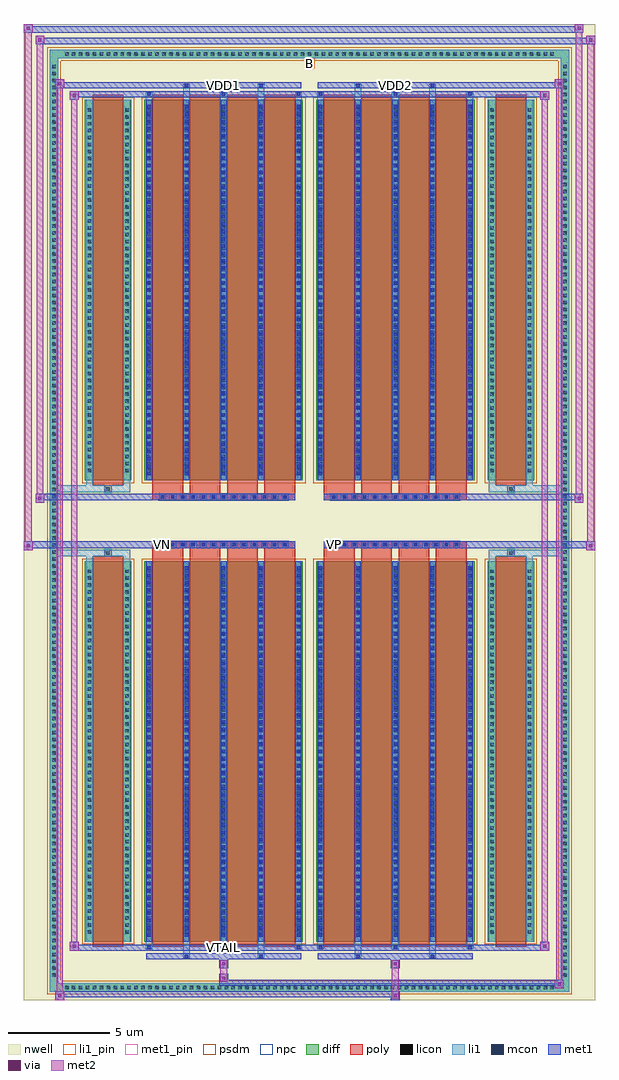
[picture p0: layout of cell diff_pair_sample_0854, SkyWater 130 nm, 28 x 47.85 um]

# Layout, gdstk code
import gdstk
lib = gdstk.Library(unit=1e-6, precision=5e-09)
def R(c, l, rs):  # rectangles x0, y0, x1, y1
    for r in rs: c.add(gdstk.rectangle(r[:2], r[2:], *l))
def A(c, l, x, y, w, h, nx, ny, dx, dy):  # array of equal rectangles
    R(c, l, [(x+i*dx, y+j*dy, x+i*dx+w, y+j*dy+h) for i in range(nx) for j in range(ny)])
def P(c, l, *ps):  # polygons
    for p in ps: c.add(gdstk.Polygon(p, *l))
nwell = (64, 20)
diff = (65, 20)
poly = (66, 20)
licon = (66, 44)
li1_pin = (67, 16)
li1 = (67, 20)
mcon = (67, 44)
met1_pin = (68, 16)
met1 = (68, 20)
via = (68, 44)
met2 = (69, 20)
psdm = (94, 20)
npc = (95, 20)

diff_pair_sample_0854 = lib.new_cell('diff_pair_sample_0854')
R(diff_pair_sample_0854, nwell, [(-14,-23.49,14,24.36), (-11.32,-21.68,-0.01,-0.8), (0.01,-21.68,11.32,-0.8), (-11.32,0.8,-0.01,21.68), (0.01,0.8,11.32,21.68)])
A(diff_pair_sample_0854, diff, -12.105, -23.09, 0.41, 0.41, 71, 2, 0.34, 45.77)
A(diff_pair_sample_0854, diff, -12.73, -22.475, 0.41, 0.41, 1, 132, 0, 0.34)
A(diff_pair_sample_0854, diff, 12.32, -22.475, 0.41, 0.41, 1, 132, 0, 0.34)
R(diff_pair_sample_0854, diff, [(-12.105,-23.09,12.105,-22.68), (-12.73,-22.475,-12.32,22.475), (12.32,-22.475,12.73,22.475), (-11.01,-20.635,-8.73,-1.985), (-8.09,-20.635,-0.32,-1.985), (0.32,-20.635,8.09,-1.985), (8.73,-20.635,11.01,-1.985), (-11.01,1.985,-8.73,20.635), (-8.09,1.985,-0.32,20.635), (0.32,1.985,8.09,20.635), (8.73,1.985,11.01,20.635), (-12.105,22.68,12.105,23.09)])
P(diff_pair_sample_0854, diff, [(12.73,23.09),(-12.73,23.09),(-12.73,-22.68),(-12.32,-22.68),(-12.32,22.68),(12.32,22.68),(12.32,-22.68),(-12.32,-22.68),(-12.73,-22.68),(-12.73,-23.09),(12.73,-23.09)])
A(diff_pair_sample_0854, poly, -7.7, -20.885, 1.5, 19.15, 4, 2, 1.83, 22.62)
A(diff_pair_sample_0854, poly, 0.71, -20.885, 1.5, 19.15, 4, 2, 1.83, 22.62)
A(diff_pair_sample_0854, poly, -7.7, -1.735, 1.5, 0.405, 4, 2, 1.83, 3.065)
A(diff_pair_sample_0854, poly, 0.71, -1.735, 1.5, 0.405, 4, 2, 1.83, 3.065)
A(diff_pair_sample_0854, poly, -7.37, -1.33, 0.33, 0.33, 13, 2, 0.5, 2.33)
A(diff_pair_sample_0854, poly, 1.04, -1.33, 0.33, 0.33, 13, 2, 0.5, 2.33)
R(diff_pair_sample_0854, poly, [(-10.62,-20.885,-9.12,-1.735), (9.12,-20.885,10.62,-1.735), (-10.035,-1.735,-9.705,-1.405), (-10.035,-1.735,-9.705,-1.405), (9.705,-1.735,10.035,-1.405), (9.705,-1.735,10.035,-1.405), (-7.7,-1.33,-0.71,-1), (0.71,-1.33,7.7,-1), (-7.7,1,-0.71,1.33), (0.71,1,7.7,1.33), (-10.035,1.405,-9.705,1.735), (-10.035,1.405,-9.705,1.735), (9.705,1.405,10.035,1.735), (9.705,1.405,10.035,1.735), (-10.62,1.735,-9.12,20.885), (9.12,1.735,10.62,20.885)])
A(diff_pair_sample_0854, licon, -11.985, -22.97, 0.17, 0.17, 71, 2, 0.34, 45.77)
A(diff_pair_sample_0854, licon, -12.61, -22.355, 0.17, 0.17, 1, 132, 0, 0.34)
A(diff_pair_sample_0854, licon, 12.44, -22.355, 0.17, 0.17, 1, 132, 0, 0.34)
A(diff_pair_sample_0854, licon, -10.87, -20.235, 0.17, 0.17, 1, 53, 0, 0.34)
A(diff_pair_sample_0854, licon, -9.04, -20.235, 0.17, 0.17, 1, 53, 0, 0.34)
A(diff_pair_sample_0854, licon, -7.95, -20.235, 0.17, 0.17, 5, 53, 1.83, 0.34)
A(diff_pair_sample_0854, licon, 0.46, -20.235, 0.17, 0.17, 5, 53, 1.83, 0.34)
A(diff_pair_sample_0854, licon, 8.87, -20.235, 0.17, 0.17, 1, 53, 0, 0.34)
A(diff_pair_sample_0854, licon, 10.7, -20.235, 0.17, 0.17, 1, 53, 0, 0.34)
A(diff_pair_sample_0854, licon, -7.29, -1.25, 0.17, 0.17, 13, 2, 0.5, 2.33)
A(diff_pair_sample_0854, licon, 1.12, -1.25, 0.17, 0.17, 13, 2, 0.5, 2.33)
A(diff_pair_sample_0854, licon, -10.87, 2.385, 0.17, 0.17, 1, 53, 0, 0.34)
A(diff_pair_sample_0854, licon, -9.04, 2.385, 0.17, 0.17, 1, 53, 0, 0.34)
A(diff_pair_sample_0854, licon, -7.95, 2.385, 0.17, 0.17, 5, 53, 1.83, 0.34)
A(diff_pair_sample_0854, licon, 0.46, 2.385, 0.17, 0.17, 5, 53, 1.83, 0.34)
A(diff_pair_sample_0854, licon, 8.87, 2.385, 0.17, 0.17, 1, 53, 0, 0.34)
A(diff_pair_sample_0854, licon, 10.7, 2.385, 0.17, 0.17, 1, 53, 0, 0.34)
R(diff_pair_sample_0854, licon, [(-9.955,-1.655,-9.785,-1.485), (9.785,-1.655,9.955,-1.485), (-9.955,1.485,-9.785,1.655), (9.785,1.485,9.955,1.655)])
R(diff_pair_sample_0854, li1_pin, [(-0.25,22.18,0.25,22.68)])
A(diff_pair_sample_0854, li1, -12.065, -23.05, 0.33, 0.33, 71, 2, 0.34, 45.77)
A(diff_pair_sample_0854, li1, -12.69, -22.435, 0.33, 0.33, 1, 132, 0, 0.34)
A(diff_pair_sample_0854, li1, 12.36, -22.435, 0.33, 0.33, 1, 132, 0, 0.34)
A(diff_pair_sample_0854, li1, -8.03, -21.01, 0.33, 0.375, 3, 2, 3.66, 41.645)
A(diff_pair_sample_0854, li1, -7.95, -21.01, 0.17, 0.17, 3, 2, 3.66, 41.85)
A(diff_pair_sample_0854, li1, 0.38, -21.01, 0.33, 0.375, 3, 2, 3.66, 41.645)
A(diff_pair_sample_0854, li1, 0.46, -21.01, 0.17, 0.17, 3, 2, 3.66, 41.85)
A(diff_pair_sample_0854, li1, -8.03, -20.635, 0.33, 18.65, 5, 2, 1.83, 22.62)
A(diff_pair_sample_0854, li1, 0.38, -20.635, 0.33, 18.65, 5, 2, 1.83, 22.62)
A(diff_pair_sample_0854, li1, -7.95, -20.395, 0.17, 0.17, 5, 51, 1.83, 0.36)
A(diff_pair_sample_0854, li1, -7.95, -20.395, 0.17, 18.17, 5, 2, 1.83, 22.62)
A(diff_pair_sample_0854, li1, 0.46, -20.395, 0.17, 0.17, 5, 51, 1.83, 0.36)
A(diff_pair_sample_0854, li1, 0.46, -20.395, 0.17, 18.17, 5, 2, 1.83, 22.62)
A(diff_pair_sample_0854, li1, -10.95, -20.315, 0.33, 0.33, 1, 53, 0, 0.34)
A(diff_pair_sample_0854, li1, -9.12, -20.315, 0.33, 0.33, 1, 53, 0, 0.34)
A(diff_pair_sample_0854, li1, -8.03, -20.315, 0.33, 0.33, 5, 53, 1.83, 0.34)
A(diff_pair_sample_0854, li1, 0.38, -20.315, 0.33, 0.33, 5, 53, 1.83, 0.34)
A(diff_pair_sample_0854, li1, 8.79, -20.315, 0.33, 0.33, 1, 53, 0, 0.34)
A(diff_pair_sample_0854, li1, 10.62, -20.315, 0.33, 0.33, 1, 53, 0, 0.34)
A(diff_pair_sample_0854, li1, -7.37, -1.33, 0.33, 0.33, 13, 2, 0.5, 2.33)
A(diff_pair_sample_0854, li1, 1.04, -1.33, 0.33, 0.33, 13, 2, 0.5, 2.33)
A(diff_pair_sample_0854, li1, -7.95, 2.225, 0.17, 0.17, 5, 51, 1.83, 0.36)
A(diff_pair_sample_0854, li1, 0.46, 2.225, 0.17, 0.17, 5, 51, 1.83, 0.36)
A(diff_pair_sample_0854, li1, -10.95, 2.305, 0.33, 0.33, 1, 53, 0, 0.34)
A(diff_pair_sample_0854, li1, -9.12, 2.305, 0.33, 0.33, 1, 53, 0, 0.34)
A(diff_pair_sample_0854, li1, -8.03, 2.305, 0.33, 0.33, 5, 53, 1.83, 0.34)
A(diff_pair_sample_0854, li1, 0.38, 2.305, 0.33, 0.33, 5, 53, 1.83, 0.34)
A(diff_pair_sample_0854, li1, 8.79, 2.305, 0.33, 0.33, 1, 53, 0, 0.34)
A(diff_pair_sample_0854, li1, 10.62, 2.305, 0.33, 0.33, 1, 53, 0, 0.34)
R(diff_pair_sample_0854, li1, [(-12.73,-23.09,-12.32,-22.68), (-12.73,-23.09,-12.32,-22.68), (-12.32,-23.09,12.32,-22.68), (12.32,-23.09,12.73,-22.68), (12.32,-23.09,12.73,-22.68), (-12.73,-22.68,-12.32,22.68), (12.32,-22.68,12.73,22.68), (-6.2,-21.44,-5.87,-20.635), (-6.12,-21.44,-5.95,-21.27), (-2.54,-21.44,-2.21,-20.635), (-2.46,-21.44,-2.29,-21.27), (2.21,-21.44,2.54,-20.635), (2.29,-21.44,2.46,-21.27), (5.87,-21.44,6.2,-20.635), (5.95,-21.44,6.12,-21.27), (-10.95,-20.635,-10.62,-1.985), (-9.12,-20.635,-8.79,-1.985), (8.79,-20.635,9.12,-1.985), (10.62,-20.635,10.95,-1.985), (-10.95,-1.985,-10.62,-1.405), (-9.12,-1.985,-8.79,-1.405), (8.79,-1.985,9.12,-1.405), (10.62,-1.985,10.95,-1.405), (-12.73,-1.735,-10.035,-1.405), (-10.95,-1.735,-10.035,-1.405), (-10.035,-1.735,-9.705,-1.405), (-9.705,-1.735,-8.79,-1.405), (8.79,-1.735,9.705,-1.405), (9.705,-1.735,10.035,-1.405), (9.705,-1.735,12.73,-1.405), (10.035,-1.735,10.95,-1.405), (-12.73,1.405,-10.035,1.735), (-10.95,1.405,-10.035,1.735), (-10.95,1.405,-10.62,1.985), (-10.035,1.405,-9.705,1.735), (-9.705,1.405,-8.79,1.735), (-9.12,1.405,-8.79,1.985), (8.79,1.405,9.705,1.735), (8.79,1.405,9.12,1.985), (9.705,1.405,10.035,1.735), (9.705,1.405,12.73,1.735), (10.035,1.405,10.95,1.735), (10.62,1.405,10.95,1.985), (-10.95,1.985,-10.62,20.635), (-9.12,1.985,-8.79,20.635), (8.79,1.985,9.12,20.635), (10.62,1.985,10.95,20.635), (-6.2,20.635,-5.87,21.44), (-2.54,20.635,-2.21,21.44), (2.21,20.635,2.54,21.44), (5.87,20.635,6.2,21.44), (-6.12,21.27,-5.95,21.44), (-2.46,21.27,-2.29,21.44), (2.29,21.27,2.46,21.44), (5.95,21.27,6.12,21.44), (-12.73,22.68,-12.32,23.09), (-12.73,22.68,-12.32,23.09), (-12.32,22.68,12.32,23.09), (12.32,22.68,12.73,23.09), (12.32,22.68,12.73,23.09)])
A(diff_pair_sample_0854, mcon, -7.95, -21.01, 0.17, 0.17, 3, 2, 3.66, 41.85)
A(diff_pair_sample_0854, mcon, 0.46, -21.01, 0.17, 0.17, 3, 2, 3.66, 41.85)
A(diff_pair_sample_0854, mcon, -7.95, -20.395, 0.17, 0.17, 5, 51, 1.83, 0.36)
A(diff_pair_sample_0854, mcon, 0.46, -20.395, 0.17, 0.17, 5, 51, 1.83, 0.36)
A(diff_pair_sample_0854, mcon, -7.29, -1.25, 0.17, 0.17, 13, 2, 0.5, 2.33)
A(diff_pair_sample_0854, mcon, 1.12, -1.25, 0.17, 0.17, 13, 2, 0.5, 2.33)
A(diff_pair_sample_0854, mcon, -7.95, 2.225, 0.17, 0.17, 5, 51, 1.83, 0.36)
A(diff_pair_sample_0854, mcon, 0.46, 2.225, 0.17, 0.17, 5, 51, 1.83, 0.36)
R(diff_pair_sample_0854, mcon, [(-6.12,-21.44,-5.95,-21.27), (-2.46,-21.44,-2.29,-21.27), (2.29,-21.44,2.46,-21.27), (5.95,-21.44,6.12,-21.27), (-6.12,21.27,-5.95,21.44), (-2.46,21.27,-2.29,21.44), (2.29,21.27,2.46,21.44), (5.95,21.27,6.12,21.44)])
R(diff_pair_sample_0854, met1_pin, [(-4.34,-21.05,-4.07,-20.78), (-7.34,-1.29,-7.07,-1.02), (1.07,-1.29,1.34,-1.02), (-4.34,21.23,-4.07,21.5), (4.07,21.23,4.34,21.5)])
A(diff_pair_sample_0854, met1, -8.01, -21.07, 0.29, 0.29, 3, 2, 3.66, 41.85)
A(diff_pair_sample_0854, met1, 0.4, -21.07, 0.29, 0.29, 3, 2, 3.66, 41.85)
A(diff_pair_sample_0854, met1, -8.01, -20.635, 0.29, 18.65, 5, 2, 1.83, 22.62)
A(diff_pair_sample_0854, met1, 0.4, -20.635, 0.29, 18.65, 5, 2, 1.83, 22.62)
A(diff_pair_sample_0854, met1, -8.01, -20.455, 0.29, 0.29, 5, 51, 1.83, 0.36)
A(diff_pair_sample_0854, met1, 0.4, -20.455, 0.29, 0.29, 5, 51, 1.83, 0.36)
A(diff_pair_sample_0854, met1, -7.35, -1.31, 0.29, 0.29, 13, 2, 0.5, 2.33)
A(diff_pair_sample_0854, met1, 1.06, -1.31, 0.29, 0.29, 13, 2, 0.5, 2.33)
A(diff_pair_sample_0854, met1, -8.01, 2.165, 0.29, 0.29, 5, 51, 1.83, 0.36)
A(diff_pair_sample_0854, met1, 0.4, 2.165, 0.29, 0.29, 5, 51, 1.83, 0.36)
R(diff_pair_sample_0854, met1, [(-12.46,-23.49,-12.03,-23.06), (3.99,-23.49,4.42,-23.06), (-12.46,-23.35,4.42,-23.06), (12.03,-22.92,12.46,-22.49), (-4.42,-22.78,12.46,-22.49), (-4.42,-22.64,-3.99,-22.21), (-4.42,-21.93,-3.99,-21.5), (3.99,-21.93,4.42,-21.5), (-8.01,-21.5,-0.4,-21.21), (-6.18,-21.5,-5.89,-21.21), (-2.52,-21.5,-2.23,-21.21), (0.4,-21.5,8.01,-21.21), (2.23,-21.5,2.52,-21.21), (5.89,-21.5,6.18,-21.21), (-11.75,-21.07,-11.32,-20.64), (-11.75,-21.07,-8.01,-20.78), (-8.01,-21.07,-0.4,-20.78), (-0.4,-21.07,0.4,-20.78), (0.4,-21.07,8.01,-20.78), (8.01,-21.07,11.75,-20.78), (11.32,-21.07,11.75,-20.64), (-14,-1.43,-13.57,-1), (13.57,-1.43,14,-1), (-14,-1.33,-0.71,-1), (-7.7,-1.33,-0.71,-1), (0.71,-1.33,7.7,-1), (0.71,-1.33,14,-1), (-13.43,0.9,-13,1.33), (13,0.9,13.43,1.33), (-13.43,1,-7.7,1.33), (-7.7,1,-0.71,1.33), (0.71,1,7.7,1.33), (7.7,1,13.43,1.33), (-11.75,20.64,-11.32,21.07), (11.32,20.64,11.75,21.07), (-11.75,20.78,-8.01,21.07), (-8.01,20.78,-0.4,21.07), (-0.4,20.78,0.4,21.07), (0.4,20.78,8.01,21.07), (8.01,20.78,11.75,21.07), (-12.46,21.21,-12.03,21.64), (-12.46,21.21,-8.01,21.5), (-8.01,21.21,-0.4,21.5), (-6.18,21.21,-5.89,21.5), (-2.52,21.21,-2.23,21.5), (0.4,21.21,8.01,21.5), (2.23,21.21,2.52,21.5), (5.89,21.21,6.18,21.5), (8.01,21.21,12.46,21.5), (12.03,21.21,12.46,21.64), (-13.43,23.36,-13,23.79), (-13.43,23.36,-11.32,23.69), (-11.32,23.36,11.32,23.69), (11.32,23.36,14,23.69), (13.57,23.36,14,23.79), (-14,23.93,-13.57,24.36), (-14,23.93,-11.32,24.26), (-11.32,23.93,11.32,24.26), (11.32,23.93,13.43,24.26), (13,23.93,13.43,24.36)])
R(diff_pair_sample_0854, via, [(-12.32,-23.35,-12.17,-23.2), (4.13,-23.35,4.28,-23.2), (12.17,-22.78,12.32,-22.63), (-4.28,-22.5,-4.13,-22.35), (-4.28,-21.79,-4.13,-21.64), (4.13,-21.79,4.28,-21.64), (-11.61,-20.93,-11.46,-20.78), (11.46,-20.93,11.61,-20.78), (-13.86,-1.29,-13.71,-1.14), (13.71,-1.29,13.86,-1.14), (-13.29,1.04,-13.14,1.19), (13.14,1.04,13.29,1.19), (-11.61,20.78,-11.46,20.93), (11.46,20.78,11.61,20.93), (-12.32,21.35,-12.17,21.5), (12.17,21.35,12.32,21.5), (-13.29,23.5,-13.14,23.65), (13.71,23.5,13.86,23.65), (-13.86,24.07,-13.71,24.22), (13.14,24.07,13.29,24.22)])
R(diff_pair_sample_0854, met2, [(-12.46,-23.49,-12.03,-23.06), (-12.39,-23.49,-12.1,21.64), (-12.1,-23.49,-12.03,-23.06), (-12.41,-23.44,-12.08,-23.11), (4.04,-23.44,4.37,-23.11), (4.04,-23.11,4.37,-21.88), (12.03,-22.92,12.46,-22.49), (12.1,-22.92,12.39,21.64), (12.39,-22.92,12.46,-22.49), (12.08,-22.87,12.41,-22.54), (-4.37,-22.59,-4.04,-22.26), (-4.37,-22.26,-4.04,-21.88), (-4.37,-21.88,-4.04,-21.55), (4.04,-21.88,4.37,-21.55), (-11.75,-21.07,-11.32,-20.64), (-11.68,-21.07,-11.39,21.07), (-11.39,-21.07,-11.32,-20.64), (11.32,-21.07,11.75,-20.64), (11.39,-21.07,11.68,21.07), (11.68,-21.07,11.75,-20.64), (-11.7,-21.02,-11.37,-20.69), (11.37,-21.02,11.7,-20.69), (-14,-1.43,-13.57,-1), (-13.95,-1.43,-13.62,24.36), (-13.62,-1.43,-13.57,-1), (13.57,-1.43,14,-1), (13.62,-1.43,13.95,23.79), (13.95,-1.43,14,-1), (-13.95,-1.38,-13.62,-1.05), (13.62,-1.38,13.95,-1.05), (-13.43,0.9,-13,1.33), (-13.38,0.9,-13.05,23.79), (-13.05,0.9,-13,1.33), (13,0.9,13.43,1.33), (13.05,0.9,13.38,24.36), (13.38,0.9,13.43,1.33), (-13.38,0.95,-13.05,1.28), (13.05,0.95,13.38,1.28), (-11.75,20.64,-11.32,21.07), (-11.39,20.64,-11.32,21.07), (11.32,20.64,11.75,21.07), (11.68,20.64,11.75,21.07), (-11.7,20.69,-11.37,21.02), (11.37,20.69,11.7,21.02), (-12.46,21.21,-12.03,21.64), (-12.1,21.21,-12.03,21.64), (12.03,21.21,12.46,21.64), (12.39,21.21,12.46,21.64), (-12.41,21.26,-12.08,21.59), (12.08,21.26,12.41,21.59), (-13.43,23.36,-13,23.79), (-13.05,23.36,-13,23.79), (13.57,23.36,14,23.79), (13.95,23.36,14,23.79), (-13.38,23.41,-13.05,23.74), (13.62,23.41,13.95,23.74), (-14,23.93,-13.57,24.36), (-13.62,23.93,-13.57,24.36), (13,23.93,13.43,24.36), (13.38,23.93,13.43,24.36), (-13.95,23.98,-13.62,24.31), (13.05,23.98,13.38,24.31)])
R(diff_pair_sample_0854, psdm, [(-11.14,-20.765,-8.6,-1.855), (-8.22,-20.765,-0.19,-1.855), (0.19,-20.765,8.22,-1.855), (8.6,-20.765,11.14,-1.855), (-11.14,1.855,-8.6,20.765), (-8.22,1.855,-0.19,20.765), (0.19,1.855,8.22,20.765), (8.6,1.855,11.14,20.765)])
P(diff_pair_sample_0854, psdm, [(12.86,23.22),(-12.86,23.22),(-12.86,-22.55),(-12.19,-22.55),(-12.19,22.55),(12.19,22.55),(12.19,-22.55),(-12.19,-22.55),(-12.86,-22.55),(-12.86,-23.22),(12.86,-23.22)])
A(diff_pair_sample_0854, npc, -7.39, -1.35, 0.37, 0.37, 13, 2, 0.5, 2.33)
A(diff_pair_sample_0854, npc, 1.02, -1.35, 0.37, 0.37, 13, 2, 0.5, 2.33)
R(diff_pair_sample_0854, npc, [(-10.055,-1.755,-9.685,-1.385), (9.685,-1.755,10.055,-1.385), (-7.39,-1.35,-6.52,-0.98), (-7.39,-1.35,-6.52,-0.98), (-6.89,-1.35,-6.02,-0.98), (-6.89,-1.35,-6.02,-0.98), (-6.39,-1.35,-5.52,-0.98), (-6.39,-1.35,-5.52,-0.98), (-5.89,-1.35,-5.02,-0.98), (-5.89,-1.35,-5.02,-0.98), (-5.39,-1.35,-4.52,-0.98), (-5.39,-1.35,-4.52,-0.98), (-4.89,-1.35,-4.02,-0.98), (-4.89,-1.35,-4.02,-0.98), (-4.39,-1.35,-3.52,-0.98), (-4.39,-1.35,-3.52,-0.98), (-3.89,-1.35,-3.02,-0.98), (-3.89,-1.35,-3.02,-0.98), (-3.39,-1.35,-2.52,-0.98), (-3.39,-1.35,-2.52,-0.98), (-2.89,-1.35,-2.02,-0.98), (-2.89,-1.35,-2.02,-0.98), (-2.39,-1.35,-1.52,-0.98), (-2.39,-1.35,-1.52,-0.98), (-1.89,-1.35,-1.02,-0.98), (-1.89,-1.35,-1.02,-0.98), (1.02,-1.35,1.89,-0.98), (1.02,-1.35,1.89,-0.98), (1.52,-1.35,2.39,-0.98), (1.52,-1.35,2.39,-0.98), (2.02,-1.35,2.89,-0.98), (2.02,-1.35,2.89,-0.98), (2.52,-1.35,3.39,-0.98), (2.52,-1.35,3.39,-0.98), (3.02,-1.35,3.89,-0.98), (3.02,-1.35,3.89,-0.98), (3.52,-1.35,4.39,-0.98), (3.52,-1.35,4.39,-0.98), (4.02,-1.35,4.89,-0.98), (4.02,-1.35,4.89,-0.98), (4.52,-1.35,5.39,-0.98), (4.52,-1.35,5.39,-0.98), (5.02,-1.35,5.89,-0.98), (5.02,-1.35,5.89,-0.98), (5.52,-1.35,6.39,-0.98), (5.52,-1.35,6.39,-0.98), (6.02,-1.35,6.89,-0.98), (6.02,-1.35,6.89,-0.98), (6.52,-1.35,7.39,-0.98), (6.52,-1.35,7.39,-0.98), (-7.39,0.98,-6.52,1.35), (-7.39,0.98,-6.52,1.35), (-6.89,0.98,-6.02,1.35), (-6.89,0.98,-6.02,1.35), (-6.39,0.98,-5.52,1.35), (-6.39,0.98,-5.52,1.35), (-5.89,0.98,-5.02,1.35), (-5.89,0.98,-5.02,1.35), (-5.39,0.98,-4.52,1.35), (-5.39,0.98,-4.52,1.35), (-4.89,0.98,-4.02,1.35), (-4.89,0.98,-4.02,1.35), (-4.39,0.98,-3.52,1.35), (-4.39,0.98,-3.52,1.35), (-3.89,0.98,-3.02,1.35), (-3.89,0.98,-3.02,1.35), (-3.39,0.98,-2.52,1.35), (-3.39,0.98,-2.52,1.35), (-2.89,0.98,-2.02,1.35), (-2.89,0.98,-2.02,1.35), (-2.39,0.98,-1.52,1.35), (-2.39,0.98,-1.52,1.35), (-1.89,0.98,-1.02,1.35), (-1.89,0.98,-1.02,1.35), (1.02,0.98,1.89,1.35), (1.02,0.98,1.89,1.35), (1.52,0.98,2.39,1.35), (1.52,0.98,2.39,1.35), (2.02,0.98,2.89,1.35), (2.02,0.98,2.89,1.35), (2.52,0.98,3.39,1.35), (2.52,0.98,3.39,1.35), (3.02,0.98,3.89,1.35), (3.02,0.98,3.89,1.35), (3.52,0.98,4.39,1.35), (3.52,0.98,4.39,1.35), (4.02,0.98,4.89,1.35), (4.02,0.98,4.89,1.35), (4.52,0.98,5.39,1.35), (4.52,0.98,5.39,1.35), (5.02,0.98,5.89,1.35), (5.02,0.98,5.89,1.35), (5.52,0.98,6.39,1.35), (5.52,0.98,6.39,1.35), (6.02,0.98,6.89,1.35), (6.02,0.98,6.89,1.35), (6.52,0.98,7.39,1.35), (6.52,0.98,7.39,1.35), (-10.055,1.385,-9.685,1.755), (9.685,1.385,10.055,1.755)])
diff_pair_sample_0854.add(gdstk.Label('VTAIL', (-4.205,-20.915), layer=68, texttype=5))
diff_pair_sample_0854.add(gdstk.Label('VN', (-7.205,-1.155), layer=68, texttype=5))
diff_pair_sample_0854.add(gdstk.Label('VP', (1.205,-1.155), layer=68, texttype=5))
diff_pair_sample_0854.add(gdstk.Label('B', (0,22.43), layer=67, texttype=5))
diff_pair_sample_0854.add(gdstk.Label('VDD2', (4.205,21.365), layer=68, texttype=5))
diff_pair_sample_0854.add(gdstk.Label('VDD1', (-4.205,21.365), layer=68, texttype=5))

lib.write_gds('diff_pair_sample_0854.gds')
